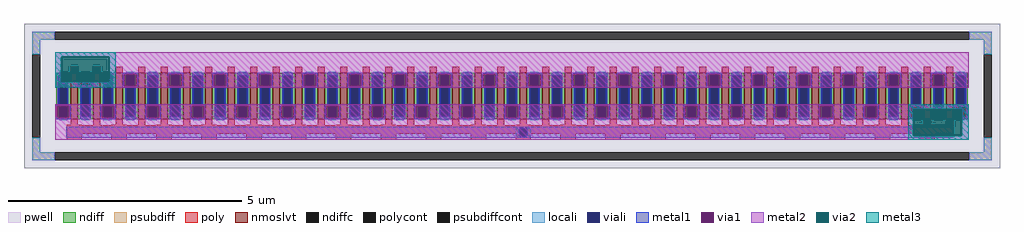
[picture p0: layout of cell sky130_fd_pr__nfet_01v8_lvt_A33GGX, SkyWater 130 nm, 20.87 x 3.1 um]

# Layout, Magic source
magic
tech sky130A
<< pwell >>
rect -1044 -155 1043 155
<< nmoslvt >>
rect -944 -50 -929 50
rect -896 -50 -881 50
rect -848 -50 -833 50
rect -800 -50 -785 50
rect -752 -50 -737 50
rect -704 -50 -689 50
rect -656 -50 -641 50
rect -608 -50 -593 50
rect -560 -50 -545 50
rect -512 -50 -497 50
rect -464 -50 -449 50
rect -416 -50 -401 50
rect -368 -50 -353 50
rect -320 -50 -305 50
rect -272 -50 -257 50
rect -224 -50 -209 50
rect -176 -50 -161 50
rect -128 -50 -113 50
rect -80 -50 -65 50
rect -32 -50 -17 50
rect 16 -50 31 50
rect 64 -50 79 50
rect 112 -50 127 50
rect 160 -50 175 50
rect 208 -50 223 50
rect 256 -50 271 50
rect 304 -50 319 50
rect 352 -50 367 50
rect 400 -50 415 50
rect 448 -50 463 50
rect 496 -50 511 50
rect 544 -50 559 50
rect 592 -50 607 50
rect 640 -50 655 50
rect 688 -50 703 50
rect 736 -50 751 50
rect 784 -50 799 50
rect 832 -50 847 50
rect 880 -50 895 50
rect 928 -50 943 50
<< ndiff >>
rect -975 44 -944 50
rect -975 -44 -969 44
rect -952 -44 -944 44
rect -975 -50 -944 -44
rect -929 44 -896 50
rect -929 -44 -921 44
rect -904 -44 -896 44
rect -929 -50 -896 -44
rect -881 44 -848 50
rect -881 -44 -873 44
rect -856 -44 -848 44
rect -881 -50 -848 -44
rect -833 44 -800 50
rect -833 -44 -825 44
rect -808 -44 -800 44
rect -833 -50 -800 -44
rect -785 44 -752 50
rect -785 -44 -777 44
rect -760 -44 -752 44
rect -785 -50 -752 -44
rect -737 44 -704 50
rect -737 -44 -729 44
rect -712 -44 -704 44
rect -737 -50 -704 -44
rect -689 44 -656 50
rect -689 -44 -681 44
rect -664 -44 -656 44
rect -689 -50 -656 -44
rect -641 44 -608 50
rect -641 -44 -633 44
rect -616 -44 -608 44
rect -641 -50 -608 -44
rect -593 44 -560 50
rect -593 -44 -585 44
rect -568 -44 -560 44
rect -593 -50 -560 -44
rect -545 44 -512 50
rect -545 -44 -537 44
rect -520 -44 -512 44
rect -545 -50 -512 -44
rect -497 44 -464 50
rect -497 -44 -489 44
rect -472 -44 -464 44
rect -497 -50 -464 -44
rect -449 44 -416 50
rect -449 -44 -441 44
rect -424 -44 -416 44
rect -449 -50 -416 -44
rect -401 44 -368 50
rect -401 -44 -393 44
rect -376 -44 -368 44
rect -401 -50 -368 -44
rect -353 44 -320 50
rect -353 -44 -345 44
rect -328 -44 -320 44
rect -353 -50 -320 -44
rect -305 44 -272 50
rect -305 -44 -297 44
rect -280 -44 -272 44
rect -305 -50 -272 -44
rect -257 44 -224 50
rect -257 -44 -249 44
rect -232 -44 -224 44
rect -257 -50 -224 -44
rect -209 44 -176 50
rect -209 -44 -201 44
rect -184 -44 -176 44
rect -209 -50 -176 -44
rect -161 44 -128 50
rect -161 -44 -153 44
rect -136 -44 -128 44
rect -161 -50 -128 -44
rect -113 44 -80 50
rect -113 -44 -105 44
rect -88 -44 -80 44
rect -113 -50 -80 -44
rect -65 44 -32 50
rect -65 -44 -57 44
rect -40 -44 -32 44
rect -65 -50 -32 -44
rect -17 44 16 50
rect -17 -44 -9 44
rect 8 -44 16 44
rect -17 -50 16 -44
rect 31 44 64 50
rect 31 -44 39 44
rect 56 -44 64 44
rect 31 -50 64 -44
rect 79 44 112 50
rect 79 -44 87 44
rect 104 -44 112 44
rect 79 -50 112 -44
rect 127 44 160 50
rect 127 -44 135 44
rect 152 -44 160 44
rect 127 -50 160 -44
rect 175 44 208 50
rect 175 -44 183 44
rect 200 -44 208 44
rect 175 -50 208 -44
rect 223 44 256 50
rect 223 -44 231 44
rect 248 -44 256 44
rect 223 -50 256 -44
rect 271 44 304 50
rect 271 -44 279 44
rect 296 -44 304 44
rect 271 -50 304 -44
rect 319 44 352 50
rect 319 -44 327 44
rect 344 -44 352 44
rect 319 -50 352 -44
rect 367 44 400 50
rect 367 -44 375 44
rect 392 -44 400 44
rect 367 -50 400 -44
rect 415 44 448 50
rect 415 -44 423 44
rect 440 -44 448 44
rect 415 -50 448 -44
rect 463 44 496 50
rect 463 -44 471 44
rect 488 -44 496 44
rect 463 -50 496 -44
rect 511 44 544 50
rect 511 -44 519 44
rect 536 -44 544 44
rect 511 -50 544 -44
rect 559 44 592 50
rect 559 -44 567 44
rect 584 -44 592 44
rect 559 -50 592 -44
rect 607 44 640 50
rect 607 -44 615 44
rect 632 -44 640 44
rect 607 -50 640 -44
rect 655 44 688 50
rect 655 -44 663 44
rect 680 -44 688 44
rect 655 -50 688 -44
rect 703 44 736 50
rect 703 -44 711 44
rect 728 -44 736 44
rect 703 -50 736 -44
rect 751 44 784 50
rect 751 -44 759 44
rect 776 -44 784 44
rect 751 -50 784 -44
rect 799 44 832 50
rect 799 -44 807 44
rect 824 -44 832 44
rect 799 -50 832 -44
rect 847 44 880 50
rect 847 -44 855 44
rect 872 -44 880 44
rect 847 -50 880 -44
rect 895 44 928 50
rect 895 -44 903 44
rect 920 -44 928 44
rect 895 -50 928 -44
rect 943 44 974 50
rect 943 -44 951 44
rect 968 -44 974 44
rect 943 -50 974 -44
<< ndiffc >>
rect -969 -44 -952 44
rect -921 -44 -904 44
rect -873 -44 -856 44
rect -825 -44 -808 44
rect -777 -44 -760 44
rect -729 -44 -712 44
rect -681 -44 -664 44
rect -633 -44 -616 44
rect -585 -44 -568 44
rect -537 -44 -520 44
rect -489 -44 -472 44
rect -441 -44 -424 44
rect -393 -44 -376 44
rect -345 -44 -328 44
rect -297 -44 -280 44
rect -249 -44 -232 44
rect -201 -44 -184 44
rect -153 -44 -136 44
rect -105 -44 -88 44
rect -57 -44 -40 44
rect -9 -44 8 44
rect 39 -44 56 44
rect 87 -44 104 44
rect 135 -44 152 44
rect 183 -44 200 44
rect 231 -44 248 44
rect 279 -44 296 44
rect 327 -44 344 44
rect 375 -44 392 44
rect 423 -44 440 44
rect 471 -44 488 44
rect 519 -44 536 44
rect 567 -44 584 44
rect 615 -44 632 44
rect 663 -44 680 44
rect 711 -44 728 44
rect 759 -44 776 44
rect 807 -44 824 44
rect 855 -44 872 44
rect 903 -44 920 44
rect 951 -44 968 44
<< psubdiff >>
rect -1026 120 -978 137
rect 977 120 1025 137
rect -1026 89 -1009 120
rect 1008 89 1025 120
rect -1026 -120 -1009 -89
rect 1008 -120 1025 -89
rect -1026 -137 -978 -120
rect 977 -137 1025 -120
<< psubdiffcont >>
rect -978 120 977 137
rect -1026 -89 -1009 89
rect 1008 -89 1025 89
rect -978 -137 977 -120
<< poly >>
rect -944 50 -929 63
rect -896 50 -881 63
rect -848 50 -833 63
rect -800 50 -785 63
rect -752 50 -737 63
rect -704 50 -689 63
rect -656 50 -641 63
rect -608 50 -593 63
rect -560 50 -545 63
rect -512 50 -497 63
rect -464 50 -449 63
rect -416 50 -401 63
rect -368 50 -353 63
rect -320 50 -305 63
rect -272 50 -257 63
rect -224 50 -209 63
rect -176 50 -161 63
rect -128 50 -113 63
rect -80 50 -65 63
rect -32 50 -17 63
rect 16 50 31 63
rect 64 50 79 63
rect 112 50 127 63
rect 160 50 175 63
rect 208 50 223 63
rect 256 50 271 63
rect 304 50 319 63
rect 352 50 367 63
rect 400 50 415 63
rect 448 50 463 63
rect 496 50 511 63
rect 544 50 559 63
rect 592 50 607 63
rect 640 50 655 63
rect 688 50 703 63
rect 736 50 751 63
rect 784 50 799 63
rect 832 50 847 63
rect 880 50 895 63
rect 928 50 943 63
rect -944 -61 -929 -50
rect -953 -63 -920 -61
rect -896 -63 -881 -50
rect -848 -61 -833 -50
rect -857 -63 -824 -61
rect -800 -63 -785 -50
rect -752 -61 -737 -50
rect -761 -63 -728 -61
rect -704 -63 -689 -50
rect -656 -61 -641 -50
rect -665 -63 -632 -61
rect -608 -63 -593 -50
rect -560 -61 -545 -50
rect -569 -63 -536 -61
rect -512 -63 -497 -50
rect -464 -61 -449 -50
rect -473 -63 -440 -61
rect -416 -63 -401 -50
rect -368 -61 -353 -50
rect -377 -63 -344 -61
rect -320 -63 -305 -50
rect -272 -61 -257 -50
rect -281 -63 -248 -61
rect -224 -63 -209 -50
rect -176 -61 -161 -50
rect -185 -63 -152 -61
rect -128 -63 -113 -50
rect -80 -61 -65 -50
rect -89 -63 -56 -61
rect -32 -63 -17 -50
rect 16 -61 31 -50
rect 7 -63 40 -61
rect 64 -63 79 -50
rect 112 -61 127 -50
rect 103 -63 136 -61
rect 160 -63 175 -50
rect 208 -61 223 -50
rect 199 -63 232 -61
rect 256 -63 271 -50
rect 304 -61 319 -50
rect 295 -63 328 -61
rect 352 -63 367 -50
rect 400 -61 415 -50
rect 391 -63 424 -61
rect 448 -63 463 -50
rect 496 -61 511 -50
rect 487 -63 520 -61
rect 544 -63 559 -50
rect 592 -61 607 -50
rect 583 -63 616 -61
rect 640 -63 655 -50
rect 688 -61 703 -50
rect 679 -63 712 -61
rect 736 -63 751 -50
rect 784 -61 799 -50
rect 775 -63 808 -61
rect 832 -63 847 -50
rect 880 -61 895 -50
rect 871 -63 904 -61
rect 928 -63 943 -50
rect -953 -69 943 -63
rect -953 -81 15 -69
rect -953 -94 -920 -81
rect -857 -94 -824 -81
rect -761 -94 -728 -81
rect -665 -94 -632 -81
rect -569 -94 -536 -81
rect -473 -94 -440 -81
rect -377 -94 -344 -81
rect -281 -94 -248 -81
rect -185 -94 -152 -81
rect -89 -94 -56 -81
rect 7 -86 15 -81
rect 32 -81 943 -69
rect 32 -86 40 -81
rect 7 -94 40 -86
rect 103 -94 136 -81
rect 199 -94 232 -81
rect 295 -94 328 -81
rect 391 -94 424 -81
rect 487 -94 520 -81
rect 583 -94 616 -81
rect 679 -94 712 -81
rect 775 -94 808 -81
rect 871 -94 904 -81
<< polycont >>
rect 15 -86 32 -69
<< locali >>
rect -1026 120 -978 137
rect 977 120 1025 137
rect -1026 89 -1009 120
rect 1008 89 1025 120
rect -969 44 -952 52
rect -969 -52 -952 -44
rect -921 44 -904 52
rect -921 -52 -904 -44
rect -873 44 -856 52
rect -873 -52 -856 -44
rect -825 44 -808 52
rect -825 -52 -808 -44
rect -777 44 -760 52
rect -777 -52 -760 -44
rect -729 44 -712 52
rect -729 -52 -712 -44
rect -681 44 -664 52
rect -681 -52 -664 -44
rect -633 44 -616 52
rect -633 -52 -616 -44
rect -585 44 -568 52
rect -585 -52 -568 -44
rect -537 44 -520 52
rect -537 -52 -520 -44
rect -489 44 -472 52
rect -489 -52 -472 -44
rect -441 44 -424 52
rect -441 -52 -424 -44
rect -393 44 -376 52
rect -393 -52 -376 -44
rect -345 44 -328 52
rect -345 -52 -328 -44
rect -297 44 -280 52
rect -297 -52 -280 -44
rect -249 44 -232 52
rect -249 -52 -232 -44
rect -201 44 -184 52
rect -201 -52 -184 -44
rect -153 44 -136 52
rect -153 -52 -136 -44
rect -105 44 -88 52
rect -105 -52 -88 -44
rect -57 44 -40 52
rect -57 -52 -40 -44
rect -9 44 8 52
rect -9 -52 8 -44
rect 39 44 56 52
rect 39 -52 56 -44
rect 87 44 104 52
rect 87 -52 104 -44
rect 135 44 152 52
rect 135 -52 152 -44
rect 183 44 200 52
rect 183 -52 200 -44
rect 231 44 248 52
rect 231 -52 248 -44
rect 279 44 296 52
rect 279 -52 296 -44
rect 327 44 344 52
rect 327 -52 344 -44
rect 375 44 392 52
rect 375 -52 392 -44
rect 423 44 440 52
rect 423 -52 440 -44
rect 471 44 488 52
rect 471 -52 488 -44
rect 519 44 536 52
rect 519 -52 536 -44
rect 567 44 584 52
rect 567 -52 584 -44
rect 615 44 632 52
rect 615 -52 632 -44
rect 663 44 680 52
rect 663 -52 680 -44
rect 711 44 728 52
rect 711 -52 728 -44
rect 759 44 776 52
rect 759 -52 776 -44
rect 807 44 824 52
rect 807 -52 824 -44
rect 855 44 872 52
rect 855 -52 872 -44
rect 903 44 920 52
rect 903 -52 920 -44
rect 951 44 968 52
rect 951 -52 968 -44
rect 7 -86 15 -69
rect 32 -86 40 -69
rect -1026 -120 -1009 -89
rect 1008 -120 1025 -89
rect -1026 -137 -978 -120
rect 977 -137 1025 -120
<< viali >>
rect -969 -44 -952 44
rect -921 -44 -904 44
rect -873 -44 -856 44
rect -825 -44 -808 44
rect -777 -44 -760 44
rect -729 -44 -712 44
rect -681 -44 -664 44
rect -633 -44 -616 44
rect -585 -44 -568 44
rect -537 -44 -520 44
rect -489 -44 -472 44
rect -441 -44 -424 44
rect -393 -44 -376 44
rect -345 -44 -328 44
rect -297 -44 -280 44
rect -249 -44 -232 44
rect -201 -44 -184 44
rect -153 -44 -136 44
rect -105 -44 -88 44
rect -57 -44 -40 44
rect -9 -44 8 44
rect 39 -44 56 44
rect 87 -44 104 44
rect 135 -44 152 44
rect 183 -44 200 44
rect 231 -44 248 44
rect 279 -44 296 44
rect 327 -44 344 44
rect 375 -44 392 44
rect 423 -44 440 44
rect 471 -44 488 44
rect 519 -44 536 44
rect 567 -44 584 44
rect 615 -44 632 44
rect 663 -44 680 44
rect 711 -44 728 44
rect 759 -44 776 44
rect 807 -44 824 44
rect 855 -44 872 44
rect 903 -44 920 44
rect 951 -44 968 44
rect 15 -86 32 -69
<< metal1 >>
rect -972 44 -949 50
rect -972 -18 -969 44
rect -977 -21 -969 -18
rect -952 -18 -949 44
rect -929 47 -896 50
rect -929 21 -926 47
rect -899 21 -896 47
rect -929 18 -921 21
rect -952 -21 -944 -18
rect -977 -47 -974 -21
rect -947 -47 -944 -21
rect -977 -50 -944 -47
rect -924 -44 -921 18
rect -904 18 -896 21
rect -876 44 -853 50
rect -904 -44 -901 18
rect -876 -18 -873 44
rect -924 -50 -901 -44
rect -881 -21 -873 -18
rect -856 -18 -853 44
rect -833 47 -800 50
rect -833 21 -830 47
rect -803 21 -800 47
rect -833 18 -825 21
rect -856 -21 -848 -18
rect -881 -47 -878 -21
rect -851 -47 -848 -21
rect -881 -50 -848 -47
rect -828 -44 -825 18
rect -808 18 -800 21
rect -780 44 -757 50
rect -808 -44 -805 18
rect -780 -18 -777 44
rect -828 -50 -805 -44
rect -785 -21 -777 -18
rect -760 -18 -757 44
rect -737 47 -704 50
rect -737 21 -734 47
rect -707 21 -704 47
rect -737 18 -729 21
rect -760 -21 -752 -18
rect -785 -47 -782 -21
rect -755 -47 -752 -21
rect -785 -50 -752 -47
rect -732 -44 -729 18
rect -712 18 -704 21
rect -684 44 -661 50
rect -712 -44 -709 18
rect -684 -18 -681 44
rect -732 -50 -709 -44
rect -689 -21 -681 -18
rect -664 -18 -661 44
rect -641 47 -608 50
rect -641 21 -638 47
rect -611 21 -608 47
rect -641 18 -633 21
rect -664 -21 -656 -18
rect -689 -47 -686 -21
rect -659 -47 -656 -21
rect -689 -50 -656 -47
rect -636 -44 -633 18
rect -616 18 -608 21
rect -588 44 -565 50
rect -616 -44 -613 18
rect -588 -18 -585 44
rect -636 -50 -613 -44
rect -593 -21 -585 -18
rect -568 -18 -565 44
rect -545 47 -512 50
rect -545 21 -542 47
rect -515 21 -512 47
rect -545 18 -537 21
rect -568 -21 -560 -18
rect -593 -47 -590 -21
rect -563 -47 -560 -21
rect -593 -50 -560 -47
rect -540 -44 -537 18
rect -520 18 -512 21
rect -492 44 -469 50
rect -520 -44 -517 18
rect -492 -18 -489 44
rect -540 -50 -517 -44
rect -497 -21 -489 -18
rect -472 -18 -469 44
rect -449 47 -416 50
rect -449 21 -446 47
rect -419 21 -416 47
rect -449 18 -441 21
rect -472 -21 -464 -18
rect -497 -47 -494 -21
rect -467 -47 -464 -21
rect -497 -50 -464 -47
rect -444 -44 -441 18
rect -424 18 -416 21
rect -396 44 -373 50
rect -424 -44 -421 18
rect -396 -18 -393 44
rect -444 -50 -421 -44
rect -401 -21 -393 -18
rect -376 -18 -373 44
rect -353 47 -320 50
rect -353 21 -350 47
rect -323 21 -320 47
rect -353 18 -345 21
rect -376 -21 -368 -18
rect -401 -47 -398 -21
rect -371 -47 -368 -21
rect -401 -50 -368 -47
rect -348 -44 -345 18
rect -328 18 -320 21
rect -300 44 -277 50
rect -328 -44 -325 18
rect -300 -18 -297 44
rect -348 -50 -325 -44
rect -305 -21 -297 -18
rect -280 -18 -277 44
rect -257 47 -224 50
rect -257 21 -254 47
rect -227 21 -224 47
rect -257 18 -249 21
rect -280 -21 -272 -18
rect -305 -47 -302 -21
rect -275 -47 -272 -21
rect -305 -50 -272 -47
rect -252 -44 -249 18
rect -232 18 -224 21
rect -204 44 -181 50
rect -232 -44 -229 18
rect -204 -18 -201 44
rect -252 -50 -229 -44
rect -209 -21 -201 -18
rect -184 -18 -181 44
rect -161 47 -128 50
rect -161 21 -158 47
rect -131 21 -128 47
rect -161 18 -153 21
rect -184 -21 -176 -18
rect -209 -47 -206 -21
rect -179 -47 -176 -21
rect -209 -50 -176 -47
rect -156 -44 -153 18
rect -136 18 -128 21
rect -108 44 -85 50
rect -136 -44 -133 18
rect -108 -18 -105 44
rect -156 -50 -133 -44
rect -113 -21 -105 -18
rect -88 -18 -85 44
rect -65 47 -32 50
rect -65 21 -62 47
rect -35 21 -32 47
rect -65 18 -57 21
rect -88 -21 -80 -18
rect -113 -47 -110 -21
rect -83 -47 -80 -21
rect -113 -50 -80 -47
rect -60 -44 -57 18
rect -40 18 -32 21
rect -12 44 11 50
rect -40 -44 -37 18
rect -12 -18 -9 44
rect -60 -50 -37 -44
rect -17 -21 -9 -18
rect 8 -18 11 44
rect 31 47 64 50
rect 31 21 34 47
rect 61 21 64 47
rect 31 18 39 21
rect 8 -21 16 -18
rect -17 -47 -14 -21
rect 13 -47 16 -21
rect -17 -50 16 -47
rect 36 -44 39 18
rect 56 18 64 21
rect 84 44 107 50
rect 56 -44 59 18
rect 84 -18 87 44
rect 36 -50 59 -44
rect 79 -21 87 -18
rect 104 -18 107 44
rect 127 47 160 50
rect 127 21 130 47
rect 157 21 160 47
rect 127 18 135 21
rect 104 -21 112 -18
rect 79 -47 82 -21
rect 109 -47 112 -21
rect 79 -50 112 -47
rect 132 -44 135 18
rect 152 18 160 21
rect 180 44 203 50
rect 152 -44 155 18
rect 180 -18 183 44
rect 132 -50 155 -44
rect 175 -21 183 -18
rect 200 -18 203 44
rect 223 47 256 50
rect 223 21 226 47
rect 253 21 256 47
rect 223 18 231 21
rect 200 -21 208 -18
rect 175 -47 178 -21
rect 205 -47 208 -21
rect 175 -50 208 -47
rect 228 -44 231 18
rect 248 18 256 21
rect 276 44 299 50
rect 248 -44 251 18
rect 276 -18 279 44
rect 228 -50 251 -44
rect 271 -21 279 -18
rect 296 -18 299 44
rect 319 47 352 50
rect 319 21 322 47
rect 349 21 352 47
rect 319 18 327 21
rect 296 -21 304 -18
rect 271 -47 274 -21
rect 301 -47 304 -21
rect 271 -50 304 -47
rect 324 -44 327 18
rect 344 18 352 21
rect 372 44 395 50
rect 344 -44 347 18
rect 372 -18 375 44
rect 324 -50 347 -44
rect 367 -21 375 -18
rect 392 -18 395 44
rect 415 47 448 50
rect 415 21 418 47
rect 445 21 448 47
rect 415 18 423 21
rect 392 -21 400 -18
rect 367 -47 370 -21
rect 397 -47 400 -21
rect 367 -50 400 -47
rect 420 -44 423 18
rect 440 18 448 21
rect 468 44 491 50
rect 440 -44 443 18
rect 468 -18 471 44
rect 420 -50 443 -44
rect 463 -21 471 -18
rect 488 -18 491 44
rect 511 47 544 50
rect 511 21 514 47
rect 541 21 544 47
rect 511 18 519 21
rect 488 -21 496 -18
rect 463 -47 466 -21
rect 493 -47 496 -21
rect 463 -50 496 -47
rect 516 -44 519 18
rect 536 18 544 21
rect 564 44 587 50
rect 536 -44 539 18
rect 564 -18 567 44
rect 516 -50 539 -44
rect 559 -21 567 -18
rect 584 -18 587 44
rect 607 47 640 50
rect 607 21 610 47
rect 637 21 640 47
rect 607 18 615 21
rect 584 -21 592 -18
rect 559 -47 562 -21
rect 589 -47 592 -21
rect 559 -50 592 -47
rect 612 -44 615 18
rect 632 18 640 21
rect 660 44 683 50
rect 632 -44 635 18
rect 660 -18 663 44
rect 612 -50 635 -44
rect 655 -21 663 -18
rect 680 -18 683 44
rect 703 47 736 50
rect 703 21 706 47
rect 733 21 736 47
rect 703 18 711 21
rect 680 -21 688 -18
rect 655 -47 658 -21
rect 685 -47 688 -21
rect 655 -50 688 -47
rect 708 -44 711 18
rect 728 18 736 21
rect 756 44 779 50
rect 728 -44 731 18
rect 756 -18 759 44
rect 708 -50 731 -44
rect 751 -21 759 -18
rect 776 -18 779 44
rect 799 47 832 50
rect 799 21 802 47
rect 829 21 832 47
rect 799 18 807 21
rect 776 -21 784 -18
rect 751 -47 754 -21
rect 781 -47 784 -21
rect 751 -50 784 -47
rect 804 -44 807 18
rect 824 18 832 21
rect 852 44 875 50
rect 824 -44 827 18
rect 852 -18 855 44
rect 804 -50 827 -44
rect 847 -21 855 -18
rect 872 -18 875 44
rect 895 47 928 50
rect 895 21 898 47
rect 925 21 928 47
rect 895 18 903 21
rect 872 -21 880 -18
rect 847 -47 850 -21
rect 877 -47 880 -21
rect 847 -50 880 -47
rect 900 -44 903 18
rect 920 18 928 21
rect 948 44 971 50
rect 920 -44 923 18
rect 948 -18 951 44
rect 900 -50 923 -44
rect 943 -21 951 -18
rect 968 -18 971 44
rect 968 -21 976 -18
rect 943 -47 946 -21
rect 973 -47 976 -21
rect 943 -50 976 -47
rect -954 -69 943 -66
rect -954 -86 15 -69
rect 32 -86 943 -69
rect -954 -89 943 -86
<< via1 >>
rect -926 44 -899 47
rect -926 21 -921 44
rect -921 21 -904 44
rect -904 21 -899 44
rect -974 -44 -969 -21
rect -969 -44 -952 -21
rect -952 -44 -947 -21
rect -974 -47 -947 -44
rect -830 44 -803 47
rect -830 21 -825 44
rect -825 21 -808 44
rect -808 21 -803 44
rect -878 -44 -873 -21
rect -873 -44 -856 -21
rect -856 -44 -851 -21
rect -878 -47 -851 -44
rect -734 44 -707 47
rect -734 21 -729 44
rect -729 21 -712 44
rect -712 21 -707 44
rect -782 -44 -777 -21
rect -777 -44 -760 -21
rect -760 -44 -755 -21
rect -782 -47 -755 -44
rect -638 44 -611 47
rect -638 21 -633 44
rect -633 21 -616 44
rect -616 21 -611 44
rect -686 -44 -681 -21
rect -681 -44 -664 -21
rect -664 -44 -659 -21
rect -686 -47 -659 -44
rect -542 44 -515 47
rect -542 21 -537 44
rect -537 21 -520 44
rect -520 21 -515 44
rect -590 -44 -585 -21
rect -585 -44 -568 -21
rect -568 -44 -563 -21
rect -590 -47 -563 -44
rect -446 44 -419 47
rect -446 21 -441 44
rect -441 21 -424 44
rect -424 21 -419 44
rect -494 -44 -489 -21
rect -489 -44 -472 -21
rect -472 -44 -467 -21
rect -494 -47 -467 -44
rect -350 44 -323 47
rect -350 21 -345 44
rect -345 21 -328 44
rect -328 21 -323 44
rect -398 -44 -393 -21
rect -393 -44 -376 -21
rect -376 -44 -371 -21
rect -398 -47 -371 -44
rect -254 44 -227 47
rect -254 21 -249 44
rect -249 21 -232 44
rect -232 21 -227 44
rect -302 -44 -297 -21
rect -297 -44 -280 -21
rect -280 -44 -275 -21
rect -302 -47 -275 -44
rect -158 44 -131 47
rect -158 21 -153 44
rect -153 21 -136 44
rect -136 21 -131 44
rect -206 -44 -201 -21
rect -201 -44 -184 -21
rect -184 -44 -179 -21
rect -206 -47 -179 -44
rect -62 44 -35 47
rect -62 21 -57 44
rect -57 21 -40 44
rect -40 21 -35 44
rect -110 -44 -105 -21
rect -105 -44 -88 -21
rect -88 -44 -83 -21
rect -110 -47 -83 -44
rect 34 44 61 47
rect 34 21 39 44
rect 39 21 56 44
rect 56 21 61 44
rect -14 -44 -9 -21
rect -9 -44 8 -21
rect 8 -44 13 -21
rect -14 -47 13 -44
rect 130 44 157 47
rect 130 21 135 44
rect 135 21 152 44
rect 152 21 157 44
rect 82 -44 87 -21
rect 87 -44 104 -21
rect 104 -44 109 -21
rect 82 -47 109 -44
rect 226 44 253 47
rect 226 21 231 44
rect 231 21 248 44
rect 248 21 253 44
rect 178 -44 183 -21
rect 183 -44 200 -21
rect 200 -44 205 -21
rect 178 -47 205 -44
rect 322 44 349 47
rect 322 21 327 44
rect 327 21 344 44
rect 344 21 349 44
rect 274 -44 279 -21
rect 279 -44 296 -21
rect 296 -44 301 -21
rect 274 -47 301 -44
rect 418 44 445 47
rect 418 21 423 44
rect 423 21 440 44
rect 440 21 445 44
rect 370 -44 375 -21
rect 375 -44 392 -21
rect 392 -44 397 -21
rect 370 -47 397 -44
rect 514 44 541 47
rect 514 21 519 44
rect 519 21 536 44
rect 536 21 541 44
rect 466 -44 471 -21
rect 471 -44 488 -21
rect 488 -44 493 -21
rect 466 -47 493 -44
rect 610 44 637 47
rect 610 21 615 44
rect 615 21 632 44
rect 632 21 637 44
rect 562 -44 567 -21
rect 567 -44 584 -21
rect 584 -44 589 -21
rect 562 -47 589 -44
rect 706 44 733 47
rect 706 21 711 44
rect 711 21 728 44
rect 728 21 733 44
rect 658 -44 663 -21
rect 663 -44 680 -21
rect 680 -44 685 -21
rect 658 -47 685 -44
rect 802 44 829 47
rect 802 21 807 44
rect 807 21 824 44
rect 824 21 829 44
rect 754 -44 759 -21
rect 759 -44 776 -21
rect 776 -44 781 -21
rect 754 -47 781 -44
rect 898 44 925 47
rect 898 21 903 44
rect 903 21 920 44
rect 920 21 925 44
rect 850 -44 855 -21
rect 855 -44 872 -21
rect 872 -44 877 -21
rect 850 -47 877 -44
rect 946 -44 951 -21
rect 951 -44 968 -21
rect 968 -44 973 -21
rect 946 -47 973 -44
<< metal2 >>
rect -977 84 976 94
rect -977 30 -964 84
rect -862 47 976 84
rect -862 30 -830 47
rect -977 21 -926 30
rect -899 21 -830 30
rect -803 21 -734 47
rect -707 21 -638 47
rect -611 21 -542 47
rect -515 21 -446 47
rect -419 21 -350 47
rect -323 21 -254 47
rect -227 21 -158 47
rect -131 21 -62 47
rect -35 21 34 47
rect 61 21 130 47
rect 157 21 226 47
rect 253 21 322 47
rect 349 21 418 47
rect 445 21 514 47
rect 541 21 610 47
rect 637 21 706 47
rect 733 21 802 47
rect 829 21 898 47
rect 925 21 976 47
rect -977 18 976 21
rect -977 -21 976 -18
rect -977 -47 -974 -21
rect -947 -47 -878 -21
rect -851 -47 -782 -21
rect -755 -47 -686 -21
rect -659 -47 -590 -21
rect -563 -47 -494 -21
rect -467 -47 -398 -21
rect -371 -47 -302 -21
rect -275 -47 -206 -21
rect -179 -47 -110 -21
rect -83 -47 -14 -21
rect 13 -47 82 -21
rect 109 -47 178 -21
rect 205 -47 274 -21
rect 301 -47 370 -21
rect 397 -47 466 -21
rect 493 -47 562 -21
rect 589 -47 658 -21
rect 685 -47 754 -21
rect 781 -47 850 -21
rect 877 -28 946 -21
rect 973 -47 976 -21
rect -977 -85 858 -47
rect 961 -85 976 -47
rect -977 -94 976 -85
<< via2 >>
rect -964 47 -862 84
rect -964 30 -926 47
rect -926 30 -899 47
rect -899 30 -862 47
rect 858 -47 877 -28
rect 877 -47 946 -28
rect 946 -47 961 -28
rect 858 -85 961 -47
<< metal3 >>
rect -977 84 -848 94
rect -977 30 -964 84
rect -862 30 -848 84
rect -977 18 -848 30
rect 847 -28 976 -18
rect 847 -85 858 -28
rect 961 -85 976 -28
rect 847 -94 976 -85
<< properties >>
string FIXED_BBOX -1017 -128 1017 128
string gencell sky130_fd_pr__nfet_01v8_lvt
string library sky130
string parameters w 1.0 l 0.15 m 1 nf 40 diffcov 100 polycov 100 guard 1 glc 1 grc 1 gtc 1 gbc 1 tbcov 100 rlcov 100 topc 1 botc 1 poverlap 0 doverlap 1 lmin 0.15 wmin 0.42 compatible {sky130_fd_pr__nfet_01v8 sky130_fd_pr__nfet_01v8_lvt  sky130_fd_bs_flash__special_sonosfet_star  sky130_fd_pr__nfet_g5v0d10v5 sky130_fd_pr__nfet_05v0_nvt  sky130_fd_pr__nfet_03v3_nvt} full_metal 1 viasrc 100 viadrn 100 viagate 100 viagb 0 viagr 0 viagl 0 viagt 0
<< end >>
